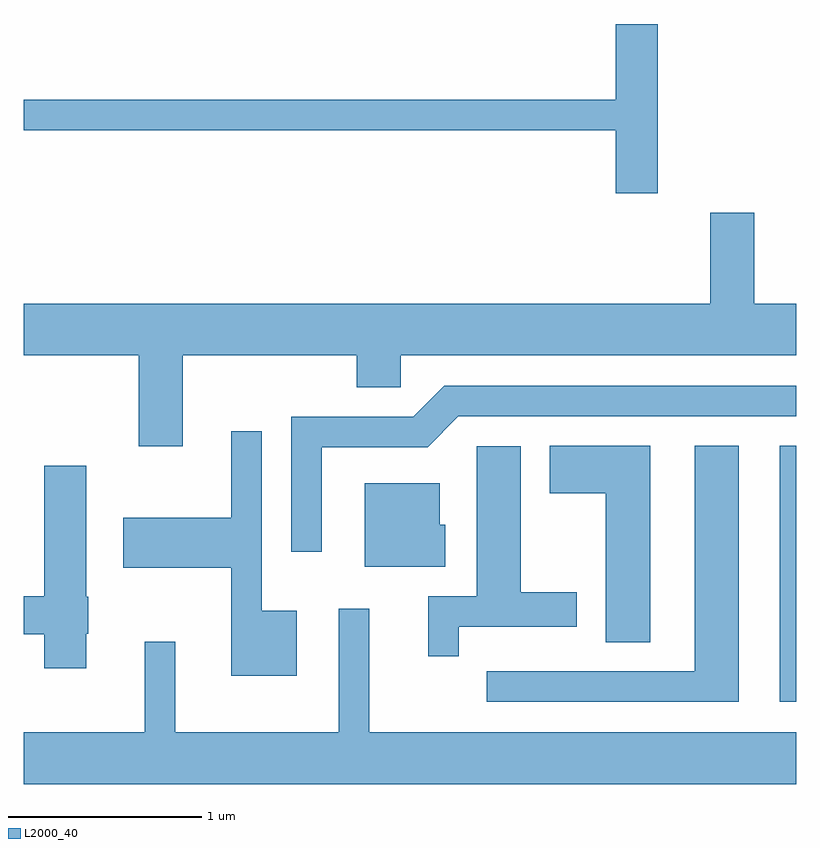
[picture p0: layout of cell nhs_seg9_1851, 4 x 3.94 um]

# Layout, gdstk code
import gdstk
lib = gdstk.Library(unit=1e-6, precision=1e-09)
def R(c, l, rs):  # rectangles x0, y0, x1, y1
    for r in rs: c.add(gdstk.rectangle(r[:2], r[2:], *l))
def P(c, l, *ps):  # polygons
    for p in ps: c.add(gdstk.Polygon(p, *l))
L2000_40 = (2000, 40)

nhs_seg9_1851 = lib.new_cell('nhs_seg9_1851')
R(nhs_seg9_1851, L2000_40, [(243.526,1978.921,243.611,1980.249)])
P(nhs_seg9_1851, L2000_40, [(242.894,1982.432),(242.676,1982.432),(242.676,1982.039),(239.611,1982.039),(239.611,1981.881),(242.676,1981.881),(242.676,1981.556),(242.894,1981.556)],
  [(240.434,1980.716),(241.336,1980.716),(241.336,1980.551),(241.564,1980.551),(241.564,1980.716),(243.611,1980.716),(243.611,1980.984),(243.394,1980.984),(243.394,1981.454),(243.166,1981.454),(243.166,1980.984),(239.611,1980.984),(239.611,1980.716),(240.206,1980.716),(240.206,1980.246),(240.434,1980.246)],
  [(241.154,1980.241),(241.702,1980.241),(241.862,1980.401),(243.611,1980.401),(243.611,1980.559),(241.789,1980.559),(241.629,1980.399),(240.996,1980.399),(240.996,1979.698),(241.154,1979.698)],
  [(241.024,1979.394),(240.844,1979.394),(240.844,1980.323),(240.686,1980.323),(240.686,1979.874),(240.126,1979.874),(240.126,1979.616),(240.686,1979.616),(240.686,1979.056),(241.024,1979.056)],
  [(243.314,1980.249),(243.086,1980.249),(243.086,1979.079),(242.008,1979.079),(242.008,1978.921),(243.314,1978.921)],
  [(242.854,1980.249),(242.336,1980.249),(242.336,1980.001),(242.626,1980.001),(242.626,1979.231),(242.854,1979.231)],
  [(241.864,1979.311),(242.474,1979.311),(242.474,1979.489),(242.184,1979.489),(242.184,1980.244),(241.956,1980.244),(241.956,1979.469),(241.706,1979.469),(241.706,1979.158),(241.864,1979.158)],
  [(239.934,1979.275),(239.944,1979.275),(239.944,1979.465),(239.934,1979.465),(239.934,1980.144),(239.716,1980.144),(239.716,1979.469),(239.611,1979.469),(239.611,1979.271),(239.716,1979.271),(239.716,1979.096),(239.934,1979.096)],
  [(241.794,1979.839),(241.764,1979.839),(241.764,1980.054),(241.376,1980.054),(241.376,1979.621),(241.794,1979.621)],
  [(243.611,1978.764),(241.399,1978.764),(241.399,1979.403),(241.241,1979.403),(241.241,1978.764),(240.394,1978.764),(240.394,1979.233),(240.236,1979.233),(240.236,1978.764),(239.611,1978.764),(239.611,1978.496),(243.611,1978.496)])

lib.write_gds('nhs_seg9_1851.gds')
